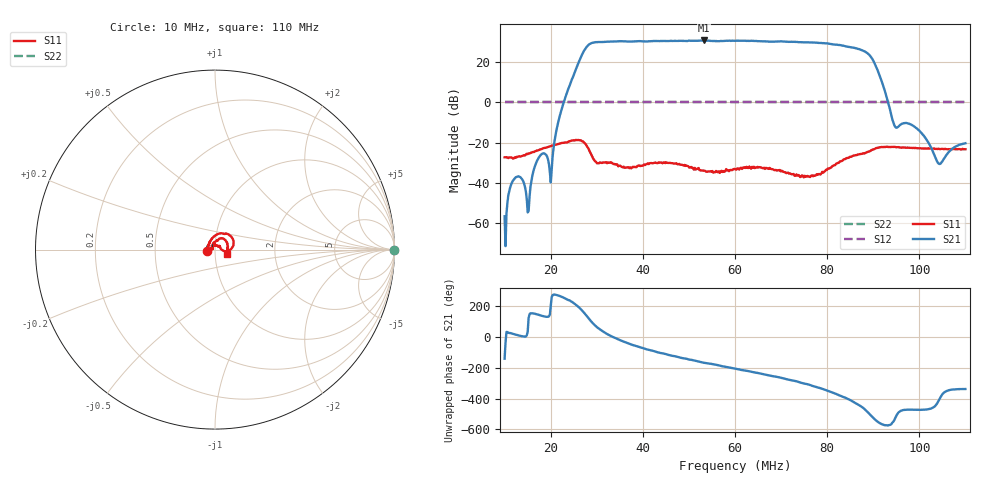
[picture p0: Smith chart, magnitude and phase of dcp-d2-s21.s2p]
! Anritsu VNA Master:  Model: MS2034B/10/19/501
! SN:  1337062
! /bd0/ovro-jan-2016/dcp-d2-s21.s2p
! Existing Calibration Information:
! TYPE:  Current Settings,  Active Cal Settings
! TIME:  01/08/2016 09:48:34 PM,  01/08/2016 08:43:08 PM
! INTERNAL TEMP:  42.5 C,  45.0 C
! # POINTS:  500,  500
! START FREQ:  10.000 MHz,  10.000 MHz
! STOP FREQ:  110.000 MHz,  110.000 MHz
! SOURCE POWER:  Low,  Low
! IFBW:  100 Hz,  100 Hz
! AVG FACTOR:  3 ,  3
! REF PLANE 1:  2.2245 m,  2.2245 m
! REF PLANE 2:  0 mm,  0 mm
! CAL TYPE:  1P2P S11,S21,  1P2P S11,S21
! CAL METHOD:  SOLT,  SOLT
! CAL LINE TYPE:  Coax,  Coax
! DUT PORT 1:  K-Conn(M),  K-Conn(M)
! DUT PORT 2:  N-Conn(M),  N-Conn(M)
! CAL STATUS:  OK: Accuracy High,  --
# GHZ S DB R 50.0
! FREQ.GHZ  S11DB  S11A  S21DB  S21A  S12DB  S12A  S22DB  S22A
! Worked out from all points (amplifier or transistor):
!   500 points, 10 MHz to 110 MHz, reference 50 ohm
!   highest |S21| = 30.7 dB at 53.29 MHz (marker M1)
!   |S21| within 3 dB of that: 27.88 MHz to 84.14 MHz (56.26 MHz wide, 100 % of centre)
!   unconditionally stable (mu >= 1): nowhere
!   at 26.63 MHz: K = 6.99, MSG = 11.4 dB, |S12| = 0.0 dB
!   at 60.1 MHz: K = 16.77, MSG = 15.3 dB, |S12| = 0.0 dB
!   at 110 MHz: K = 0.00, MSG = -10.2 dB, |S12| = 0.0 dB
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0.01  -27.32 -169.6  -56.58 -140.7  0.00 0.0  0.00 0.0
0.02342685  -19.94 60.6  4.10 -113.4  0.00 0.0  0.00 0.0
0.02563126  -18.76 38.0  17.34 -154.1  0.00 0.0  0.00 0.0
0.02683367  -19.36 17.5  23.82 171.8  0.00 0.0  0.00 0.0
0.02803607  -22.41 -4.5  28.08 129.2  0.00 0.0  0.00 0.0
0.02943888  -28.70 -0.2  29.67 80.5  0.00 0.0  0.00 0.0
0.03124249  -30.06 31.1  29.92 38.7  0.00 0.0  0.00 0.0
0.03344689  -30.38 39.2  30.18 1.5  0.00 0.0  0.00 0.0
0.03845691  -32.27 80.0  30.26 -58.0  0.00 0.0  0.00 0.0
0.04346693  -29.78 95.4  30.40 -101.1  0.00 0.0  0.00 0.0
0.04827655  -31.04 103.4  30.52 -135.3  0.00 0.0  0.00 0.0
0.05328657  -33.91 126.4  30.70 -167.6  0.00 0.0  0.00 0.0
0.0601002  -33.23 173.9  30.52 154.2  0.00 0.0  0.00 0.0
0.06971944  -33.63 174.4  30.28 97.3  0.00 0.0  0.00 0.0
0.07673347  -36.28 149.9  29.68 43.2  0.00 0.0  0.00 0.0
0.08174349  -31.18 115.0  28.62 -7.3  0.00 0.0  0.00 0.0
0.0859519  -26.38 84.3  27.01 -65.6  0.00 0.0  0.00 0.0
0.08775551  -25.33 73.3  25.68 -99.7  0.00 0.0  0.00 0.0
0.08935872  -24.18 69.3  22.93 -145.6  0.00 0.0  0.00 0.0
0.09096192  -22.55 58.5  15.85 169.4  0.00 0.0  0.00 0.0
0.09336673  -22.18 38.9  -1.22 147.4  0.00 0.0  0.00 0.0
0.11  -23.32 -19.0  -20.32 22.1  0.00 0.0  0.00 0.0
